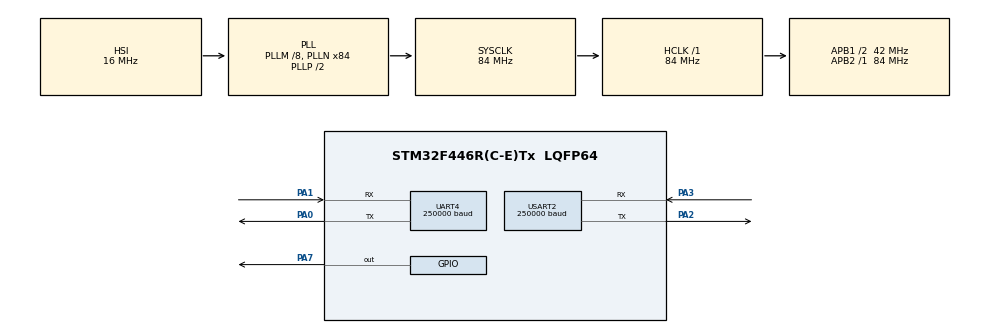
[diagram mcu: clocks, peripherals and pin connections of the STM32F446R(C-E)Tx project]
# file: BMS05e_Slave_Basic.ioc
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Dma.Request0=UART4_RX
Dma.UART4_RX.0.Direction=DMA_PERIPH_TO_MEMORY
Dma.UART4_RX.0.FIFOMode=DMA_FIFOMODE_DISABLE
Dma.UART4_RX.0.Instance=DMA1_Stream2
Dma.UART4_RX.0.MemDataAlignment=DMA_MDATAALIGN_BYTE
Dma.UART4_RX.0.MemInc=DMA_MINC_ENABLE
Dma.UART4_RX.0.Mode=DMA_NORMAL
Dma.UART4_RX.0.PeriphDataAlignment=DMA_PDATAALIGN_BYTE
Dma.UART4_RX.0.PeriphInc=DMA_PINC_DISABLE
Dma.UART4_RX.0.Priority=DMA_PRIORITY_LOW
Mcu.Family=STM32F4
Mcu.Name=STM32F446R(C-E)Tx
Mcu.Package=LQFP64
NVIC.DMA1_Stream2_IRQn=true\:1\:0\:true\:false\:true\:false\:true\:true
NVIC.PVD_IRQn=true\:0\:0\:true\:false\:true\:true\:true\:true
NVIC.PriorityGroup=NVIC_PRIORITYGROUP_4
NVIC.UART4_IRQn=true\:1\:0\:true\:false\:true\:true\:true\:true
PA0-WKUP.Mode=Asynchronous
PA0-WKUP.Signal=UART4_TX
PA1.Mode=Asynchronous
PA1.Signal=UART4_RX
PA13.Mode=Trace_Asynchronous_SW
PA13.Signal=SYS_JTMS-SWDIO
PA14.Mode=Trace_Asynchronous_SW
PA14.Signal=SYS_JTCK-SWCLK
PA2.Mode=Asynchronous
PA2.Signal=USART2_TX
PA3.Mode=Asynchronous
PA3.Signal=USART2_RX
PA7.GPIO_PuPd=GPIO_PULLDOWN
PA7.Signal=GPIO_Output
PB3.Mode=Trace_Asynchronous_SW
PB3.Signal=SYS_JTDO-SWO
ProjectManager.HeapSize=0x200
ProjectManager.StackSize=0x400
ProjectManager.TargetToolchain=STM32CubeIDE
RCC.AHBFreq_Value=84000000
RCC.APB1CLKDivider=RCC_HCLK_DIV2
RCC.APB1Freq_Value=42000000
RCC.APB1TimFreq_Value=84000000
RCC.APB2Freq_Value=84000000
RCC.APB2TimFreq_Value=84000000
RCC.CortexFreq_Value=84000000
RCC.HCLKFreq_Value=84000000
RCC.PLLM=8
RCC.PLLN=84
RCC.SYSCLKFreq_VALUE=84000000
RCC.SYSCLKSource=RCC_SYSCLKSOURCE_PLLCLK
RCC.USBFreq_Value=84000000
RCC.VCOOutputFreq_Value=168000000
UART4.BaudRate=250000
UART4.VirtualMode=Asynchronous
USART2.BaudRate=250000
USART2.VirtualMode=VM_ASYNC
board=custom

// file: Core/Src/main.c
/* USER CODE BEGIN Header */
/**
  ******************************************************************************
  * @file           : main.c
  * @brief          : Main program body
  ******************************************************************************
  * @attention
  *
  * Copyright (c) 2025 STMicroelectronics.
  * All rights reserved.
  *
  * This software is licensed under terms that can be found in the LICENSE file
  * in the root directory of this software component.
  * If no LICENSE file comes with this software, it is provided AS-IS.
  *
  ******************************************************************************
  */
/* USER CODE END Header */
#include "main.h"

/* USER CODE BEGIN Includes */
#include "pl455.h"
/* USER CODE END Includes */

/* USER CODE BEGIN PD */

#define number_cells 30
#define number_aux 8
#define number_slaves 2
#define SlaveRx_Buf_size 128

/* USER CODE END PD */

UART_HandleTypeDef huart4;
UART_HandleTypeDef huart2;
DMA_HandleTypeDef hdma_uart4_rx;

/* USER CODE BEGIN PV */

char msg_debug[512]; //message between Master and PC for debug
size_t msg_debug_len; //message with the length of msg_debug

uint8_t msg_slave[SlaveRx_Buf_size]; //message between master and slave
uint16_t msg_slave_len;
/* USER CODE END PV */

void SystemClock_Config(void);
static void MX_GPIO_Init(void);
static void MX_DMA_Init(void);
static void MX_USART2_UART_Init(void);
static void MX_UART4_Init(void);
/* USER CODE BEGIN PFP */
void Configure_PVD(void);
/* USER CODE END PFP */

/* USER CODE BEGIN 0 */

// Function of call back whenever the master receives a complete message from Slaves
void HAL_UARTEx_RxEventCallback(UART_HandleTypeDef *huart, uint16_t Size){

	if (huart->Instance == UART4){
		//memset(msg_slave, 0, SlaveRx_Buf_size); //clean the buffer

		msg_slave_len = Size;
		//msg_debug_len = sprintf(msg_debug, "tamanho da mensagem = %d\n", Size);
		//HAL_UART_Transmit(&huart2, (uint8_t *)msg_debug, msg_debug_len, 100);

		HAL_UARTEx_ReceiveToIdle_DMA(&huart4, msg_slave, SlaveRx_Buf_size);
		__HAL_DMA_DISABLE_IT(&hdma_uart4_rx,DMA_IT_HT);
	}
}

/* USER CODE END 0 */

int main(void)
{

  /* MCU Configuration--------------------------------------------------------*/

  /* Reset of all peripherals, Initializes the Flash interface and the Systick. */
  HAL_Init();

  /* Configure the system clock */
  SystemClock_Config();

  /* Initialize all configured peripherals */
  MX_GPIO_Init();
  MX_DMA_Init();
  MX_USART2_UART_Init();
  MX_UART4_Init();
  /* USER CODE BEGIN 2 */
  Configure_PVD();
  /*Colocar os pinos a High, Low, High, Low para verificar que as coisas foram bem soldadas
    HAL_GPIO_WritePin(GPIOA, GPIO_PIN_0, 0);
    HAL_GPIO_WritePin(GPIOA, GPIO_PIN_7, 0);
  */

  //Message to debug, verify if the connection between BMS and PC are good
  msg_debug_len = sprintf(msg_debug, "BMS Master Initialized with success.\n");
  HAL_UART_Transmit(&huart2, (uint8_t *)msg_debug, msg_debug_len, HAL_MAX_DELAY);
  memset(msg_debug, 0, msg_debug_len);

  wakeUp(); //Wake up the master slave and he will wake up the others

  setupSlave(); //Setup all the slave

  //This will receive the data from slave (uart) via DMA - activate after the setup is done
  HAL_UARTEx_ReceiveToIdle_DMA(&huart4, msg_slave, SlaveRx_Buf_size);
  __HAL_DMA_DISABLE_IT(&hdma_uart4_rx,DMA_IT_HT); //This deactivates the callback on half the message receive from slave

  //powerDown(); //- funciona
  /* USER CODE END 2 */

  /* Infinite loop */
  /* USER CODE BEGIN WHILE */
  while (1)
  {

	WriteReg(0, 2, 0x01, 1, FRMWRT_ALL_R);   //method 1-broadcast
	HAL_Delay(1000);
	dataSlave(msg_slave);

    /* USER CODE END WHILE */

  }
}

void SystemClock_Config(void)
{
  RCC_OscInitTypeDef RCC_OscInitStruct = {0};
  RCC_ClkInitTypeDef RCC_ClkInitStruct = {0};

  /** Configure the main internal regulator output voltage
  */
  __HAL_RCC_PWR_CLK_ENABLE();
  __HAL_PWR_VOLTAGESCALING_CONFIG(PWR_REGULATOR_VOLTAGE_SCALE3);

  /** Initializes the RCC Oscillators according to the specified parameters
  * in the RCC_OscInitTypeDef structure.
  */
  RCC_OscInitStruct.OscillatorType = RCC_OSCILLATORTYPE_HSI;
  RCC_OscInitStruct.HSIState = RCC_HSI_ON;
  RCC_OscInitStruct.HSICalibrationValue = RCC_HSICALIBRATION_DEFAULT;
  RCC_OscInitStruct.PLL.PLLState = RCC_PLL_ON;
  RCC_OscInitStruct.PLL.PLLSource = RCC_PLLSOURCE_HSI;
  RCC_OscInitStruct.PLL.PLLM = 8;
  RCC_OscInitStruct.PLL.PLLN = 84;
  RCC_OscInitStruct.PLL.PLLP = RCC_PLLP_DIV2;
  RCC_OscInitStruct.PLL.PLLQ = 2;
  RCC_OscInitStruct.PLL.PLLR = 2;
  if (HAL_RCC_OscConfig(&RCC_OscInitStruct) != HAL_OK)
  {
    Error_Handler();
  }

  /** Initializes the CPU, AHB and APB buses clocks
  */
  RCC_ClkInitStruct.ClockType = RCC_CLOCKTYPE_HCLK|RCC_CLOCKTYPE_SYSCLK
                              |RCC_CLOCKTYPE_PCLK1|RCC_CLOCKTYPE_PCLK2;
  RCC_ClkInitStruct.SYSCLKSource = RCC_SYSCLKSOURCE_PLLCLK;
  RCC_ClkInitStruct.AHBCLKDivider = RCC_SYSCLK_DIV1;
  RCC_ClkInitStruct.APB1CLKDivider = RCC_HCLK_DIV2;
  RCC_ClkInitStruct.APB2CLKDivider = RCC_HCLK_DIV1;

  if (HAL_RCC_ClockConfig(&RCC_ClkInitStruct, FLASH_LATENCY_2) != HAL_OK)
  {
    Error_Handler();
  }
}

static void MX_UART4_Init(void)
{

  huart4.Instance = UART4;
  huart4.Init.BaudRate = 250000;
  huart4.Init.WordLength = UART_WORDLENGTH_8B;
  huart4.Init.StopBits = UART_STOPBITS_1;
  huart4.Init.Parity = UART_PARITY_NONE;
  huart4.Init.Mode = UART_MODE_TX_RX;
  huart4.Init.HwFlowCtl = UART_HWCONTROL_NONE;
  huart4.Init.OverSampling = UART_OVERSAMPLING_16;
  if (HAL_UART_Init(&huart4) != HAL_OK)
  {
    Error_Handler();
  }

}

static void MX_USART2_UART_Init(void)
{

  huart2.Instance = USART2;
  huart2.Init.BaudRate = 250000;
  huart2.Init.WordLength = UART_WORDLENGTH_8B;
  huart2.Init.StopBits = UART_STOPBITS_1;
  huart2.Init.Parity = UART_PARITY_NONE;
  huart2.Init.Mode = UART_MODE_TX_RX;
  huart2.Init.HwFlowCtl = UART_HWCONTROL_NONE;
  huart2.Init.OverSampling = UART_OVERSAMPLING_16;
  if (HAL_UART_Init(&huart2) != HAL_OK)
  {
    Error_Handler();
  }

}

static void MX_DMA_Init(void)
{

  /* DMA controller clock enable */
  __HAL_RCC_DMA1_CLK_ENABLE();

  /* DMA interrupt init */
  /* DMA1_Stream2_IRQn interrupt configuration */
  HAL_NVIC_SetPriority(DMA1_Stream2_IRQn, 1, 0);
  HAL_NVIC_EnableIRQ(DMA1_Stream2_IRQn);

}

static void MX_GPIO_Init(void)
{
  GPIO_InitTypeDef GPIO_InitStruct = {0};

  /* GPIO Ports Clock Enable */
  __HAL_RCC_GPIOA_CLK_ENABLE();
  __HAL_RCC_GPIOB_CLK_ENABLE();

  /*Configure GPIO pin Output Level */
  HAL_GPIO_WritePin(GPIOA, GPIO_PIN_7, GPIO_PIN_RESET);

  /*Configure GPIO pin : PA7 */
  GPIO_InitStruct.Pin = GPIO_PIN_7;
  GPIO_InitStruct.Mode = GPIO_MODE_OUTPUT_PP;
  GPIO_InitStruct.Pull = GPIO_PULLDOWN;
  GPIO_InitStruct.Speed = GPIO_SPEED_FREQ_LOW;
  HAL_GPIO_Init(GPIOA, &GPIO_InitStruct);

}

/* USER CODE BEGIN 4 */
void HAL_PWR_PVDCallback(void)
{
    powerDown();
	msg_debug_len = sprintf(msg_debug, "PVD interrupt triggered! VDD abaixo do threshold.\n");
	HAL_UART_Transmit(&huart2, (uint8_t *)msg_debug, msg_debug_len, 1000);
}

void Configure_PVD(void)
{
    // Estrutura de configuração
    PWR_PVDTypeDef sConfigPVD;
    // Escolhe o limiar
    sConfigPVD.PVDLevel = PWR_PVDLEVEL_7; //  ~2.9 V
    // Define comportamento da interrupção (falling)
    sConfigPVD.Mode = PWR_PVD_MODE_IT_RISING;

    HAL_PWR_ConfigPVD(&sConfigPVD);
    HAL_PWR_EnablePVD();   // ativa PVD
}
/* USER CODE END 4 */

void Error_Handler(void)
{
  __disable_irq();
  while (1)
  {
  }
}
